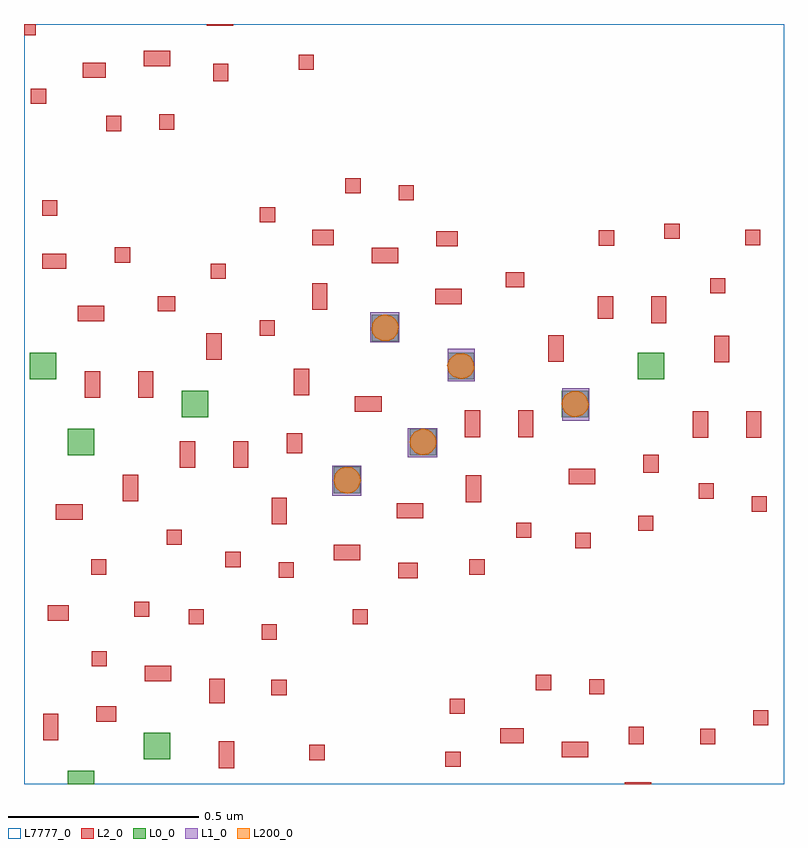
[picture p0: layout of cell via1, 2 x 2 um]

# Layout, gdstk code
import gdstk
lib = gdstk.Library(unit=1e-6, precision=1e-09)
def R(c, l, rs):  # rectangles x0, y0, x1, y1
    for r in rs: c.add(gdstk.rectangle(r[:2], r[2:], *l))
def P(c, l, *ps):  # polygons
    for p in ps: c.add(gdstk.Polygon(p, *l))
L0_0 = (0, 0)
L1_0 = (1, 0)
L2_0 = (2, 0)
L200_0 = (200, 0)
L7777_0 = (7777, 0)

via1 = lib.new_cell('via1')
R(via1, L0_0, [(29.315,76.2,29.385,76.235), (29.515,76.265,29.585,76.335), (30.015,76.965,30.085,77.035), (29.315,77.065,29.385,77.135), (30.215,77.065,30.285,77.135), (29.615,77.165,29.685,77.235), (30.615,77.165,30.685,77.235), (29.215,77.265,29.285,77.335), (30.315,77.265,30.385,77.335), (30.815,77.265,30.885,77.335), (30.115,77.365,30.185,77.435)])
R(via1, L1_0, [(30.011,76.958,30.087,77.038), (30.21,77.06,30.288,77.136), (30.616,77.156,30.687,77.241), (30.315,77.26,30.386,77.346), (30.111,77.362,30.187,77.442)])
R(via1, L2_0, [(30.781,76.2,30.851,76.204), (29.713,76.242,29.753,76.312), (30.309,76.245,30.349,76.285), (29.951,76.263,29.991,76.303), (30.615,76.271,30.685,76.311), (30.791,76.304,30.831,76.351), (30.979,76.305,31.019,76.345), (30.453,76.307,30.515,76.347), (29.25,76.315,29.29,76.385), (31.119,76.354,31.159,76.394), (29.39,76.364,29.443,76.404), (30.32,76.385,30.36,76.425), (29.688,76.412,29.728,76.477), (29.851,76.434,29.891,76.474), (30.687,76.436,30.727,76.476), (30.547,76.447,30.587,76.487), (29.518,76.471,29.588,76.511), (29.378,76.51,29.418,76.55), (29.825,76.58,29.865,76.62), (29.633,76.62,29.673,76.66), (30.065,76.62,30.105,76.66), (29.263,76.63,29.318,76.67), (29.49,76.64,29.53,76.68), (30.185,76.742,30.236,76.782), (29.87,76.743,29.91,76.783), (29.377,76.751,29.417,76.791), (30.372,76.751,30.412,76.791), (29.73,76.771,29.77,76.811), (30.015,76.789,30.085,76.829), (30.651,76.821,30.691,76.861), (29.575,76.829,29.615,76.869), (30.495,76.848,30.535,76.888), (30.816,76.866,30.856,76.906), (29.852,76.883,29.892,76.953), (29.284,76.896,29.354,76.936), (30.181,76.899,30.251,76.939), (31.115,76.917,31.155,76.957), (30.363,76.942,30.403,77.012), (29.46,76.944,29.5,77.014), (30.975,76.951,31.015,76.991), (30.633,76.989,30.703,77.029), (30.83,77.019,30.87,77.067), (29.61,77.032,29.65,77.102), (29.75,77.032,29.79,77.102), (29.892,77.071,29.932,77.123), (30.96,77.111,31,77.181), (31.1,77.111,31.14,77.181), (30.36,77.113,30.4,77.183), (30.5,77.113,30.54,77.183), (30.071,77.18,30.141,77.22), (29.36,77.216,29.4,77.286), (29.5,77.216,29.54,77.286), (29.91,77.223,29.95,77.293), (31.016,77.31,31.056,77.38), (30.58,77.311,30.62,77.381), (29.68,77.316,29.72,77.386), (29.82,77.38,29.86,77.42), (30.85,77.413,30.89,77.483), (29.341,77.418,29.411,77.458), (30.71,77.425,30.75,77.483), (29.552,77.444,29.598,77.484), (29.958,77.448,29.998,77.518), (30.282,77.463,30.352,77.503), (31.006,77.491,31.046,77.531), (30.468,77.507,30.516,77.547), (29.691,77.529,29.731,77.569), (29.248,77.556,29.311,77.596), (30.115,77.571,30.185,77.611), (29.439,77.572,29.479,77.612), (30.285,77.615,30.341,77.655), (30.713,77.617,30.753,77.657), (29.959,77.618,30.015,77.658), (31.098,77.618,31.138,77.658), (30.885,77.635,30.925,77.675), (29.821,77.678,29.861,77.718), (29.248,77.696,29.288,77.736), (30.186,77.736,30.226,77.776), (30.046,77.754,30.086,77.794), (29.416,77.918,29.456,77.958), (29.556,77.922,29.596,77.962), (29.218,77.99,29.258,78.03), (29.698,78.05,29.738,78.096), (29.354,78.058,29.415,78.098), (29.923,78.079,29.963,78.119), (29.515,78.089,29.585,78.129), (29.2,78.17,29.231,78.2), (29.681,78.196,29.751,78.2)])
P(via1, L200_0, [(30.052,76.964),(30.034,76.968),(30.021,76.98),(30.015,76.998),(30.019,77.016),(30.025,77.024),(30.034,77.031),(30.047,77.035),(30.062,77.033),(30.071,77.028),(30.08,77.019),(30.085,77.007),(30.086,76.998),(30.08,76.98),(30.07,76.97),(30.062,76.966)],
  [(30.246,77.065),(30.23,77.072),(30.218,77.086),(30.215,77.099),(30.216,77.108),(30.22,77.118),(30.228,77.127),(30.246,77.135),(30.255,77.135),(30.264,77.132),(30.272,77.127),(30.28,77.118),(30.283,77.111),(30.285,77.099),(30.283,77.088),(30.273,77.074),(30.264,77.068)],
  [(30.651,77.165),(30.642,77.166),(30.633,77.17),(30.623,77.178),(30.616,77.191),(30.615,77.201),(30.616,77.21),(30.623,77.223),(30.633,77.23),(30.642,77.233),(30.66,77.233),(30.669,77.229),(30.68,77.219),(30.686,77.201),(30.685,77.191),(30.681,77.182),(30.669,77.171)],
  [(30.347,77.266),(30.329,77.272),(30.318,77.283),(30.314,77.302),(30.319,77.317),(30.329,77.327),(30.338,77.332),(30.356,77.334),(30.365,77.331),(30.375,77.324),(30.384,77.309),(30.385,77.293),(30.381,77.283),(30.375,77.276),(30.365,77.269),(30.356,77.266)],
  [(30.141,77.366),(30.126,77.375),(30.118,77.385),(30.115,77.394),(30.117,77.411),(30.123,77.422),(30.134,77.431),(30.144,77.435),(30.154,77.435),(30.168,77.431),(30.178,77.422),(30.184,77.412),(30.186,77.403),(30.182,77.385),(30.172,77.372),(30.16,77.366)])
R(via1, L7777_0, [(29.2,76.2,31.2,78.2)])

lib.write_gds('via1.gds')
